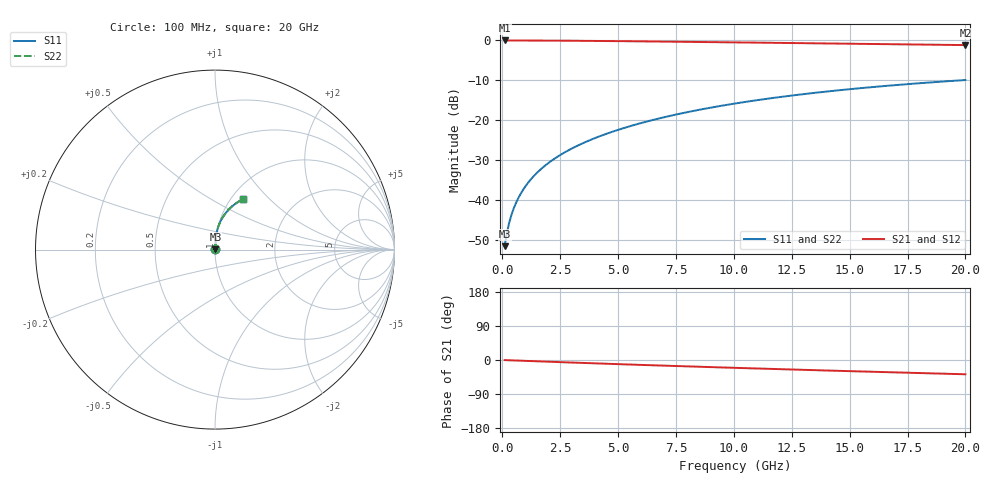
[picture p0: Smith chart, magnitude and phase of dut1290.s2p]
! Touchstone file exported from HFSS 2024.1.0
!  File:  C:/UserFiles/LocalFiles/RDL_TSV_Batchsim/temp_RDL_bottom_1290_1780247040.aedt
!  Generated:  01:06:22 AM Jun  1, 2026
!  Design:  RDL_bottom
!  Project:  temp_RDL_bottom_1290_1780247040
!  Setup:  Setup1
!  Solution:  Sweep
! Variables:
!  dtsv = 10.80580581um
!  hbump = 3um
!  htsv = 90.48um
!  ldown = 552.09um
!  lrdl = 100um
!  p = 40
!  p1 = 48.37um
!  rhole = 1um
!  t = 450um
!  tdown = 4.37um
!  trdl = 3.915915916um
!  wdown = 23.46um
!  wrdl = 20um
# GHz S MA R 50.000000
! Terminal data exported
! Port[1] = RDL1_T1
! Port[2] = RDL1_T2
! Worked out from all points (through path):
!   200 points, 100 MHz to 20 GHz, reference 50 ohm
!   highest |S21| = -0.02 dB at 100 MHz (marker M1); lowest = -1.2 dB at 20 GHz (marker M2)
!   group delay of S21, straight-line fit = 5.18 ps
!   lowest |S11| = -51.5 dB at 100 MHz (marker M3), VSWR 1.01, Z = 50.2 + j0.165 ohm
!   |S11| at or under -10 dB: start of sweep to 19.79 GHz
!   |S22| runs from -51.5 to -9.9 dB; largest |S21 - S12| = 2.7e-15
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0.1  0.002663 38.0  0.9979 -0.2  0.9979 -0.2  0.002663 38.0
! Gamma 0 0 0 0
! Port Impedance 50 0 50 0
0.2  0.003906 55.3  0.9977 -0.5  0.9977 -0.5  0.003906 55.3
0.3  0.005265 63.3  0.9976 -0.7  0.9976 -0.7  0.005265 63.3
0.4  0.006632 68.0  0.9974 -0.9  0.9974 -0.9  0.006632 68.1
0.5  0.007999 71.3  0.9972 -1.2  0.9972 -1.2  0.007999 71.3
0.6  0.009371 73.7  0.9971 -1.4  0.9971 -1.4  0.009371 73.7
0.8  0.01214 77.0  0.9968 -1.8  0.9968 -1.8  0.01214 77.0
1.1  0.01636 80.1  0.9963 -2.5  0.9963 -2.5  0.01636 80.1
1.3  0.0192 81.4  0.9958 -3.0  0.9958 -3.0  0.0192 81.5
1.6  0.02352 82.9  0.9951 -3.6  0.9951 -3.6  0.02352 82.9
2.1  0.03084 84.3  0.9935 -4.7  0.9935 -4.7  0.03084 84.3
2.7  0.03979 85.2  0.9912 -6.1  0.9912 -6.1  0.03979 85.2
3.5  0.05204 85.7  0.9875 -7.8  0.9875 -7.8  0.05204 85.7
4.2  0.06305 85.7  0.9837 -9.3  0.9837 -9.3  0.06305 85.7
5  0.07596 85.3  0.9789 -11.0  0.9789 -11.0  0.07596 85.3
6.8  0.1061 83.7  0.9671 -14.6  0.9671 -14.6  0.1061 83.7
8.4  0.1336 81.5  0.9559 -17.7  0.9559 -17.7  0.1336 81.5
10.1  0.1631 78.8  0.9439 -20.8  0.9439 -20.8  0.1632 78.8
11.7  0.1906 76.0  0.9324 -23.7  0.9324 -23.7  0.1907 76.0
13.4  0.2192 72.9  0.9203 -26.7  0.9203 -26.7  0.2192 72.9
16.7  0.2716 66.9  0.8967 -32.3  0.8967 -32.3  0.2717 67.0
20  0.3192 61.2  0.8733 -37.6  0.8733 -37.6  0.3193 61.2
